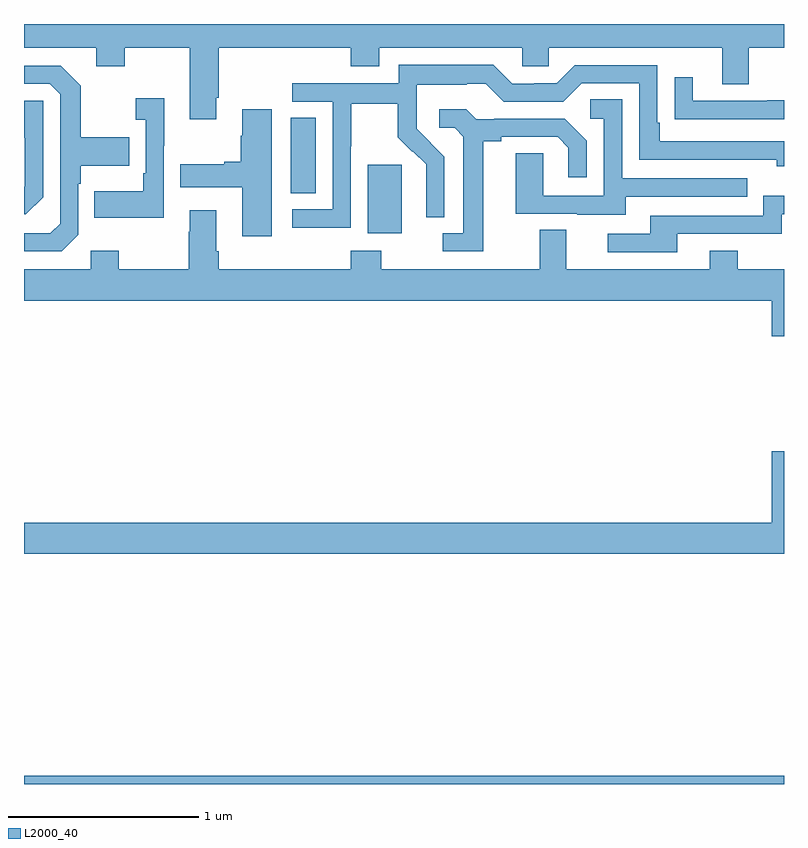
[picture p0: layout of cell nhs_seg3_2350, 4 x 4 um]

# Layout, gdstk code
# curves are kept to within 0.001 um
import gdstk
lib = gdstk.Library(unit=1e-6, precision=1e-09)
def R(c, l, rs):  # rectangles x0, y0, x1, y1
    for r in rs: c.add(gdstk.rectangle(r[:2], r[2:], *l))
def P(c, l, *ps):  # polygons
    for p in ps: c.add(gdstk.Polygon(p, *l))
L2000_40 = (2000, 40)

nhs_seg3_2350 = lib.new_cell('nhs_seg3_2350')
R(nhs_seg3_2350, L2000_40, [(233,670.4,237,670.444), (234.809,673.298,234.988,673.659), (234.404,673.51,234.535,673.907)])
P(nhs_seg3_2350, L2000_40, [(234.013,674.011),(234.026,674.011),(234.026,674.276),(234.719,674.276),(234.719,674.177),(234.871,674.177),(234.871,674.276),(235.623,674.276),(235.623,674.178),(235.761,674.178),(235.761,674.276),(236.675,674.276),(236.675,674.082),(236.815,674.082),(236.815,674.276),(237,674.276),(237,674.4),(233,674.4),(233,674.276),(233.381,674.276),(233.381,674.177),(233.529,674.177),(233.529,674.276),(233.873,674.276),(233.873,673.899),(234.013,673.899)],
  [(234.72,673.756),(234.723,673.756),(234.723,673.98),(234.967,673.98),(234.967,673.805),(235.044,673.728),(235.047,673.731),(235.118,673.661),(235.118,673.538),(235.116,673.538),(235.116,673.384),(235.212,673.384),(235.212,673.702),(235.066,673.85),(235.066,673.947),(235.068,673.947),(235.068,674.081),(235.331,674.081),(235.331,674.085),(235.431,674.085),(235.524,673.992),(235.839,673.992),(235.935,674.088),(236.238,674.088),(236.238,673.686),(236.963,673.686),(236.963,673.652),(237,673.652),(237,673.782),(236.347,673.782),(236.347,673.879),(236.334,673.879),(236.334,674.184),(235.899,674.184),(235.803,674.088),(235.685,674.088),(235.685,674.085),(235.569,674.085),(235.469,674.185),(234.972,674.185),(234.972,674.088),(234.411,674.088),(234.411,673.992),(234.624,673.992),(234.624,673.425),(234.411,673.425),(234.411,673.327),(234.72,673.327)],
  [(233.286,673.29),(233.286,673.559),(233.299,673.559),(233.299,673.655),(233.555,673.655),(233.555,673.803),(233.299,673.803),(233.299,674.075),(233.193,674.181),(233,674.181),(233,674.085),(233.136,674.085),(233.19,674.031),(233.19,673.35),(233.139,673.299),(233,673.299),(233,673.203),(233.199,673.203)],
  [(237,674),(236.911,674),(236.911,673.995),(236.521,673.995),(236.521,674.119),(236.425,674.119),(236.425,673.9),(236.527,673.9),(236.527,673.899),(237,673.899)],
  [(233.736,673.759),(233.737,673.759),(233.737,674.008),(233.589,674.008),(233.589,673.895),(233.64,673.895),(233.64,673.615),(233.628,673.615),(233.628,673.519),(233.371,673.519),(233.371,673.379),(233.736,673.379)],
  [(236.167,673.491),(236.807,673.491),(236.807,673.587),(236.148,673.587),(236.148,674.003),(235.98,674.003),(235.98,673.902),(236.052,673.902),(236.052,673.497),(235.734,673.497),(235.734,673.721),(235.589,673.721),(235.589,673.401),(235.913,673.401),(235.913,673.397),(236.167,673.397)],
  [(233.1,673.488),(233.1,673.995),(233,673.995),(233,673.802),(233.004,673.802),(233.004,673.548),(233,673.544),(233,673.398),(233.01,673.398)],
  [(235.417,673.784),(235.513,673.784),(235.513,673.806),(235.808,673.806),(235.865,673.749),(235.865,673.593),(235.962,673.593),(235.962,673.786),(235.846,673.902),(235.474,673.902),(235.474,673.899),(235.38,673.899),(235.328,673.951),(235.185,673.951),(235.185,673.854),(235.266,673.854),(235.313,673.807),(235.313,673.299),(235.203,673.299),(235.203,673.203),(235.417,673.203)],
  [(234.304,673.951),(234.149,673.951),(234.149,673.811),(234.142,673.811),(234.142,673.676),(234.053,673.676),(234.053,673.663),(233.823,673.663),(233.823,673.541),(234.149,673.541),(234.149,673.284),(234.304,673.284)],
  [(236.437,673.296),(236.988,673.296),(236.988,673.398),(237,673.398),(237,673.495),(236.892,673.495),(236.892,673.392),(236.297,673.392),(236.297,673.296),(236.073,673.296),(236.073,673.2),(236.437,673.2)],
  [(237,673.108),(236.757,673.108),(236.757,673.207),(236.609,673.207),(236.609,673.108),(235.855,673.108),(235.855,673.316),(235.715,673.316),(235.715,673.108),(234.879,673.108),(234.879,673.207),(234.719,673.207),(234.719,673.108),(234.026,673.108),(234.026,673.204),(234.013,673.204),(234.013,673.42),(233.873,673.42),(233.873,673.307),(233.866,673.307),(233.866,673.108),(233.499,673.108),(233.499,673.207),(233.352,673.207),(233.352,673.108),(233,673.108),(233,672.944),(236.936,672.944),(236.936,672.756),(237,672.756)],
  [(237,672.151),(236.936,672.151),(236.936,671.776),(233,671.776),(233,671.612),(237,671.612)])

lib.write_gds('nhs_seg3_2350.gds')
